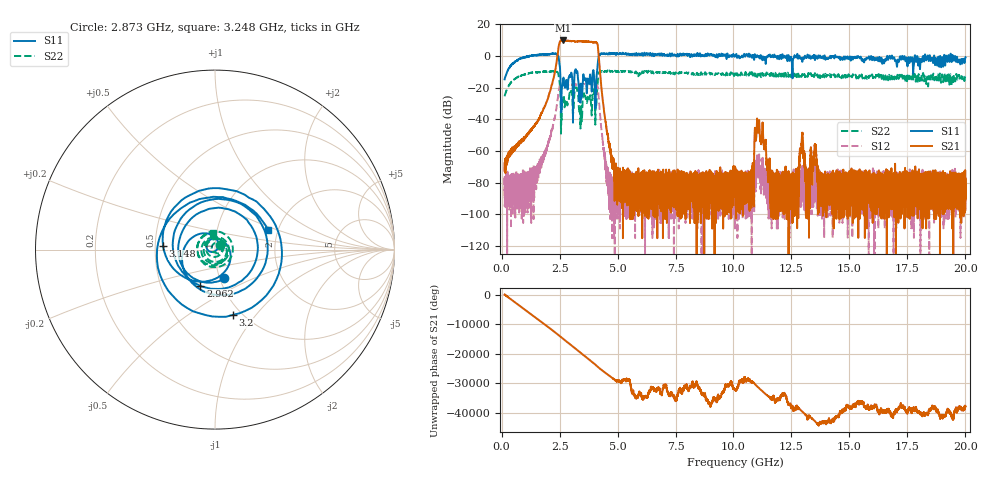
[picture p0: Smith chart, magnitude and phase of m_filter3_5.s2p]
!Created with skrf (http://scikit-rf.org).
# GHz S RI R 50.0
!freq ReS11 ImS11 ReS21 ImS21 ReS12 ImS12 ReS22 ImS22
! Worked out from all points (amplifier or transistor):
!   20013 points, 130 MHz to 20 GHz, reference 50 ohm
!   highest |S21| = 9.8 dB at 2.646 GHz (marker M1)
!   |S21| within 3 dB of that: 2.471 GHz to 4.146 GHz (1.676 GHz wide, 50.7 % of centre)
!   unconditionally stable (mu >= 1): start of sweep to 1.198 GHz; 2.463 GHz to 4.181 GHz; 14.4 GHz to 16.62 GHz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
!   at 3.465 GHz: K = 1.50, MAG = 9.3 dB, |S12| = -17.7 dB
!   at 10.14 GHz: K = -3391451.82, MSG = -0.3 dB, |S12| = -77.1 dB
!   at 20 GHz: K = 16726127.86, MAG = -73.3 dB, |S12| = -85.4 dB
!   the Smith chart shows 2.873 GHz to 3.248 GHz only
!   S11 on the Smith chart (normalised r, x): 2.873 GHz: 1.05, -0.35; 2.962 GHz: 0.79, -0.34; 3.148 GHz: 0.55, +0.02; 3.2 GHz: 0.91, -0.77; 3.248 GHz: 1.77, +0.43
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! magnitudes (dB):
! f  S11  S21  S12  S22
! 130 MHz  -14.7  -72.5  -77.3  -25.5
! 1.445 GHz  0.4  -43.6  -74.7  -10.3
! 2.371 GHz  0.9  -4.1  -32.2  -10.1
! 2.646 GHz  -16.2  9.8  -18.2  -28.5
! 2.873 GHz  -15.5  9.6  -18.1  -28.4
! 2.962 GHz  -13.2  9.6  -18.0  -24.1
! 3.148 GHz  -10.7  9.3  -18.0  -22.2
! 3.2 GHz  -8.5  9.0  -18.2  -20.0
! 3.248 GHz  -10.1  9.1  -18.0  -20.6
! 3.442 GHz  -25.7  9.3  -17.7  -35.4
! 4.102 GHz  -11.7  8.3  -18.1  -25.2
! 4.56 GHz  1.3  -49.0  -74.9  -9.4
! 4.964 GHz  1.8  -79.8  -77.8  -9.7
! 6.754 GHz  1.4  -77.8  -82.1  -10.2
! 10.06 GHz  -0.3  -69.8  -88.0  -11.1
! 10.78 GHz  -0.3  -76.4  -94.2  -11.0
! 11.02 GHz  0.5  -40.3  -65.0  -13.3
! 11.68 GHz  0.2  -75.8  -79.8  -11.5
! 12.95 GHz  -2.2  -51.0  -79.1  -11.9
! 13.38 GHz  -0.6  -67.6  -86.5  -12.6
! 16.69 GHz  -0.7  -84.2  -87.5  -13.0
! 20 GHz  -0.7  -81.5  -85.4  -12.8
